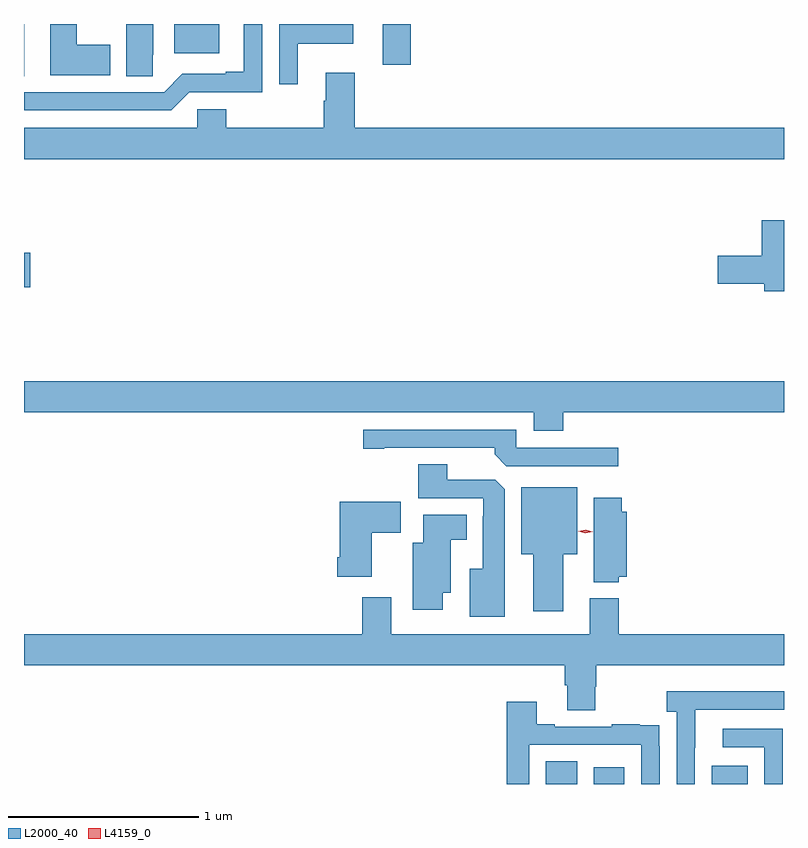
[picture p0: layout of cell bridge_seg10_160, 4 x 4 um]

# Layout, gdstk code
import gdstk
lib = gdstk.Library(unit=1e-6, precision=1e-09)
def R(c, l, rs):  # rectangles x0, y0, x1, y1
    for r in rs: c.add(gdstk.rectangle(r[:2], r[2:], *l))
def P(c, l, *ps):  # polygons
    for p in ps: c.add(gdstk.Polygon(p, *l))
L2000_40 = (2000, 40)
L4159_0 = (4159, 0)

bridge_seg10_160 = lib.new_cell('bridge_seg10_160')
R(bridge_seg10_160, L2000_40, [(245.462,1259.731,245.626,1259.852), (245.714,1259.731,245.875,1259.818), (246.335,1259.731,246.523,1259.827), (242.715,1262.345,242.749,1262.528), (242.715,1263.457,242.716,1263.731), (244.604,1263.516,244.751,1263.731), (243.506,1263.578,243.742,1263.731)])
P(bridge_seg10_160, L2000_40, [(243.169,1263.621),(242.992,1263.621),(242.992,1263.731),(242.852,1263.731),(242.852,1263.461),(243.169,1263.461)],
  [(243.585,1263.372),(243.969,1263.372),(243.969,1263.731),(243.872,1263.731),(243.872,1263.481),(243.776,1263.481),(243.776,1263.468),(243.549,1263.468),(243.453,1263.372),(242.715,1263.372),(242.715,1263.276),(243.489,1263.276)],
  [(243.393,1263.568),(243.394,1263.568),(243.394,1263.731),(243.254,1263.731),(243.254,1263.457),(243.393,1263.457)],
  [(244.156,1263.626),(244.447,1263.626),(244.447,1263.731),(244.059,1263.731),(244.059,1263.414),(244.156,1263.414)],
  [(246.715,1263.184),(244.457,1263.184),(244.457,1263.475),(244.304,1263.475),(244.304,1263.326),(244.292,1263.326),(244.292,1263.184),(243.779,1263.184),(243.779,1263.282),(243.627,1263.282),(243.627,1263.184),(242.715,1263.184),(242.715,1263.02),(246.715,1263.02)],
  [(246.715,1262.698),(246.599,1262.698),(246.599,1262.51),(246.366,1262.51),(246.366,1262.363),(246.611,1262.363),(246.611,1262.324),(246.715,1262.324)],
  [(245.552,1261.688),(246.715,1261.688),(246.715,1261.852),(242.715,1261.852),(242.715,1261.688),(245.399,1261.688),(245.399,1261.589),(245.552,1261.589)],
  [(245.842,1261.5),(245.307,1261.5),(245.307,1261.596),(244.5,1261.596),(244.5,1261.495),(244.612,1261.495),(244.612,1261.5),(245.192,1261.5),(245.192,1261.466),(245.253,1261.404),(245.842,1261.404)],
  [(245.245,1261.283),(245.196,1261.332),(244.942,1261.332),(244.942,1261.415),(244.79,1261.415),(244.79,1261.236),(245.133,1261.236),(245.133,1261.139),(245.129,1261.139),(245.129,1260.865),(245.06,1260.865),(245.06,1260.611),(245.245,1260.611)],
  [(245.554,1260.941),(245.626,1260.941),(245.626,1261.294),(245.333,1261.294),(245.333,1260.941),(245.396,1260.941),(245.396,1260.639),(245.554,1260.639)],
  [(245.844,1260.821),(245.887,1260.821),(245.887,1261.165),(245.861,1261.165),(245.861,1261.237),(245.714,1261.237),(245.714,1260.794),(245.844,1260.794)],
  [(244.546,1261.054),(244.699,1261.054),(244.699,1261.216),(244.376,1261.216),(244.376,1260.925),(244.364,1260.925),(244.364,1260.821),(244.546,1260.821)],
  [(244.918,1260.737),(244.96,1260.737),(244.96,1261.016),(245.044,1261.016),(245.044,1261.147),(244.817,1261.147),(244.817,1261),(244.76,1261),(244.76,1260.648),(244.918,1260.648)],
  [(245.721,1260.243),(245.726,1260.243),(245.726,1260.356),(246.715,1260.356),(246.715,1260.52),(245.846,1260.52),(245.846,1260.709),(245.693,1260.709),(245.693,1260.52),(244.648,1260.52),(244.648,1260.715),(244.496,1260.715),(244.496,1260.52),(242.715,1260.52),(242.715,1260.356),(245.561,1260.356),(245.561,1260.25),(245.573,1260.25),(245.573,1260.118),(245.721,1260.118)],
  [(246.246,1259.923),(246.247,1259.923),(246.247,1260.123),(246.715,1260.123),(246.715,1260.22),(246.099,1260.22),(246.099,1260.11),(246.15,1260.11),(246.15,1259.731),(246.246,1259.731)],
  [(245.373,1259.937),(245.964,1259.937),(245.964,1259.731),(246.06,1259.731),(246.06,1259.93),(246.059,1259.93),(246.059,1260.039),(245.957,1260.039),(245.957,1260.046),(245.809,1260.046),(245.809,1260.033),(245.509,1260.033),(245.509,1260.046),(245.413,1260.046),(245.413,1260.163),(245.257,1260.163),(245.257,1259.731),(245.373,1259.731)],
  [(246.708,1260.021),(246.393,1260.021),(246.393,1259.925),(246.612,1259.925),(246.612,1259.731),(246.708,1259.731)])
P(bridge_seg10_160, L4159_0, [(245.67,1261.05),(245.633,1261.06),(245.633,1261.06),(245.633,1261.061),(245.671,1261.07),(245.708,1261.059),(245.708,1261.059),(245.708,1261.058)])

lib.write_gds('bridge_seg10_160.gds')
